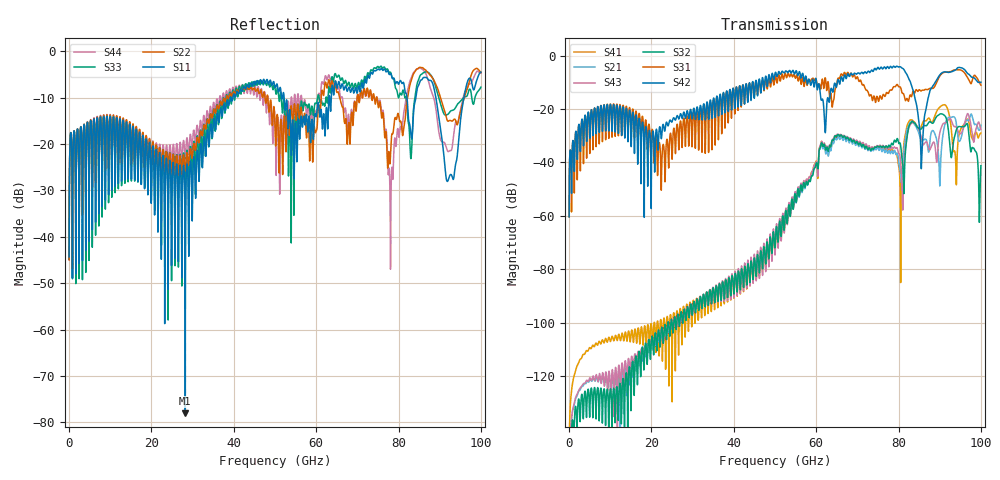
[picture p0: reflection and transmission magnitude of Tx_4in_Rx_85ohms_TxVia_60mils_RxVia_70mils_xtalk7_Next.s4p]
! Info: Touchstone file created by Circ.  Input file=Tx_4in_Rx_85ohms_TxVia_60mils_RxVia_70mils.circ
# Hz S RI R 50
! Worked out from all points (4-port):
!   10000 points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, 10 MHz to 100 GHz, reference 50 ohm
!   strongest paths, dB at 10 MHz, 25.01 GHz, 50.01 GHz, 75.01 GHz, 100 GHz:
!     S42: -60.4, -24.7, -6.7, -4.4, -10.0
!     S31: -60.4, -38.8, -8.1, -16.5, -11.1
!     S32: -170.1, -100.0, -71.9, -33.9, -41.2
!     S43: -154.5, -102.2, -74.7, -34.0, -27.6
!     S21: -167.0, -102.4, -70.1, -34.4, -26.0
!     S41: -150.2, -128.4, -72.7, -34.3, -29.0
!   lowest |S11| = -78.1 dB at 28.22 GHz (marker M1), VSWR 1.00, Z = 50 - j0.00582 ohm
!   |S11| at or under -10 dB: start of sweep to 39.13 GHz; 52.22 GHz to 63.1 GHz (10.88 GHz wide, 18.9 % of centre); 89.08 GHz to 95.86 GHz (6.788 GHz wide, 7.34 % of centre) (the widest 3 of 7)
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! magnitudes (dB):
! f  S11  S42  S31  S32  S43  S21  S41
! 10 MHz  -44.3  -60.4  -60.4  -170.1  -154.5  -167.0  -150.2
! 28.22 GHz  -78.1  -23.4  -33.3  -97.5  -98.5  -98.1  -104.2
! 46.57 GHz  -6.2  -13.9  -13.7  -73.2  -72.0  -74.5  -73.9
! 64.99 GHz  -7.7  -11.4  -11.0  -30.2  -29.6  -31.5  -30.8
! 78.23 GHz  -5.0  -4.2  -12.9  -33.1  -34.4  -35.9  -35.2
! 85.59 GHz  -6.2  -40.4  -13.1  -27.3  -31.0  -32.0  -26.1
! 100 GHz  -4.5  -10.0  -11.1  -41.2  -27.6  -26.0  -29.0
